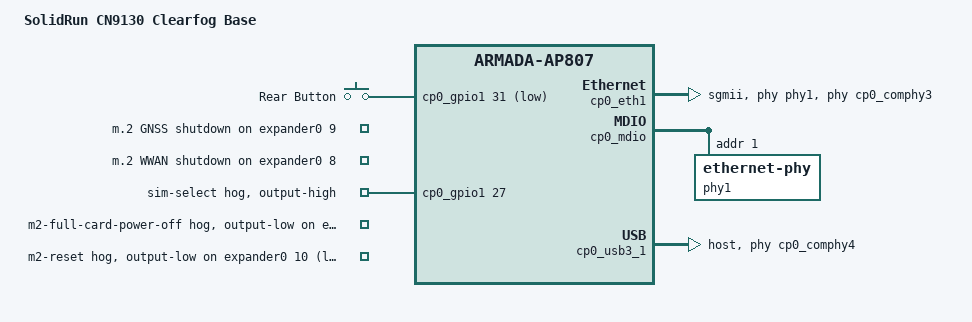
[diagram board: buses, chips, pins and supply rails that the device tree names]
// SPDX-License-Identifier: GPL-2.0+
/*
 * Copyright (C) 2024 Josua Mayer <josua@solid-run.com>
 *
 * DTS for SolidRun CN9130 Clearfog Base.
 *
 */

/dts-v1/;

#include <dt-bindings/input/input.h>

#include "cn9130.dtsi"
#include "cn9130-sr-som.dtsi"
#include "cn9130-cf.dtsi"

/ {
	model = "SolidRun CN9130 Clearfog Base";
	compatible = "solidrun,clearfog-base-a1", "solidrun,clearfog-a1",
		     "solidrun,cn9130-sr-som","marvell,cn9130",
		     "marvell,armada-ap807-quad", "marvell,armada-ap807";

	gpio-keys {
		compatible = "gpio-keys";
		pinctrl-0 = <&rear_button_pins>;
		pinctrl-names = "default";

		button-0 {
			/* The rear SW3 button */
			label = "Rear Button";
			gpios = <&cp0_gpio1 31 GPIO_ACTIVE_LOW>;
			linux,can-disable;
			linux,code = <BTN_0>;
		};
	};

	rfkill-m2-gnss {
		compatible = "rfkill-gpio";
		label = "m.2 GNSS";
		radio-type = "gps";
		/* rfkill-gpio inverts internally */
		shutdown-gpios = <&expander0 9 GPIO_ACTIVE_HIGH>;
	};

	/* M.2 is B-keyed, so w-disable is for WWAN */
	rfkill-m2-wwan {
		compatible = "rfkill-gpio";
		label = "m.2 WWAN";
		radio-type = "wwan";
		/* rfkill-gpio inverts internally */
		shutdown-gpios = <&expander0 8 GPIO_ACTIVE_HIGH>;
	};
};

/* SRDS #3 - SGMII 1GE */
&cp0_eth1 {
	phy = <&phy1>;
	phys = <&cp0_comphy3 1>;
	phy-mode = "sgmii";
	status = "okay";
};

&cp0_eth2_phy {
	/*
	 * Configure LEDs:
	 * - LED[0]: link/activity: On/blink (green)
	 * - LED[1]: link is 100/1000Mbps: On (yellow)
	 * - LED[2]: high impedance (floating)
	 */
	marvell,reg-init = <3 16 0xf000 0x0a61>;
};

&cp0_gpio1 {
	sim-select-hog {
		gpio-hog;
		gpios = <27 GPIO_ACTIVE_HIGH>;
		output-high;
		line-name = "sim-select";
	};
};

&cp0_mdio {
	phy1: ethernet-phy@1 {
		reg = <1>;
		/*
		 * Configure LEDs:
		 * - LED[0]: link/activity: On/blink (green)
		 * - LED[1]: link is 100/1000Mbps: On (yellow)
		 * - LED[2]: high impedance (floating)
		 *
		 * Polarity: On = low, Off = high (not hi-z)
		 */
		marvell,reg-init = <3 16 0xf000 0x0a61>,
				   <3 17 0x003f 0x000a>;
	};
};

&cp0_pinctrl {
	pinctrl-0 = <&sim_select_pins>;
	pintrl-names = "default";

	rear_button_pins: cp0-rear-button-pins {
		marvell,pins = "mpp31";
		marvell,function = "gpio";
	};

	sim_select_pins: cp0-sim-select-pins {
		marvell,pins = "mpp27";
		marvell,function = "gpio";
	};
};

/*
 * SRDS #4 - USB 3.0 host on M.2 connector
 * USB-2.0 Host on Type-A connector
 */
&cp0_usb3_1 {
	phys = <&cp0_comphy4 1>, <&cp0_utmi1>;
	phy-names = "comphy", "utmi";
	dr_mode = "host";
	status = "okay";
};

&expander0 {
	m2-full-card-power-off-hog {
		gpio-hog;
		gpios = <2 GPIO_ACTIVE_LOW>;
		output-low;
		line-name = "m2-full-card-power-off";
	};

	m2-reset-hog {
		gpio-hog;
		gpios = <10 GPIO_ACTIVE_LOW>;
		output-low;
		line-name = "m2-reset";
	};
};
